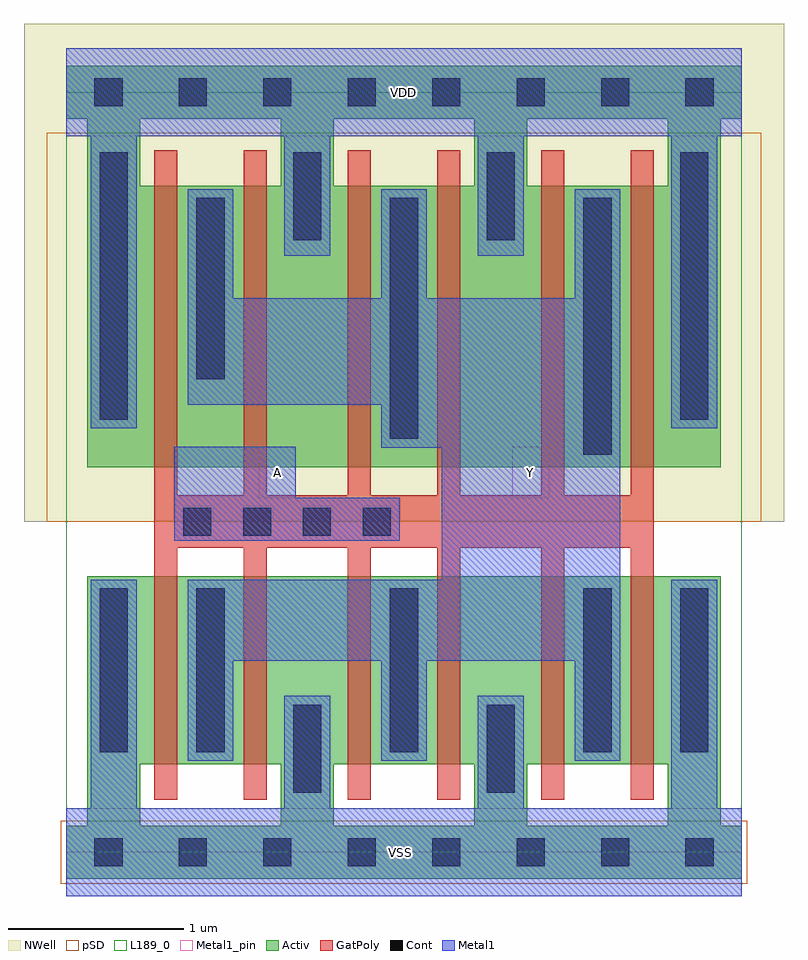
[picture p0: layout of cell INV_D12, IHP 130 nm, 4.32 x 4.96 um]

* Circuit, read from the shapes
.subckt INV_D12 A VDD VSS Y
XM1 Y A VSS VSS sg13_lv_nmos w=1.07u l=0.13u m=6
XM2 Y A VDD VDD sg13_lv_pmos w=1.6u l=0.13u m=6
.ends

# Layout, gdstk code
import gdstk
lib = gdstk.Library(unit=1e-6, precision=1e-09)
def R(c, l, rs):  # rectangles x0, y0, x1, y1
    for r in rs: c.add(gdstk.rectangle(r[:2], r[2:], *l))
def A(c, l, x, y, w, h, nx, ny, dx, dy):  # array of equal rectangles
    R(c, l, [(x+i*dx, y+j*dy, x+i*dx+w, y+j*dy+h) for i in range(nx) for j in range(ny)])
def P(c, l, *ps):  # polygons
    for p in ps: c.add(gdstk.Polygon(p, *l))
Activ = (1, 0)
GatPoly = (5, 0)
Cont = (6, 0)
Metal1 = (8, 0)
Metal1_pin = (8, 2)
pSD = (14, 0)
NWell = (31, 0)
L189_0 = (189, 0)

inv_d12 = lib.new_cell('INV_D12')
P(inv_d12, Activ, [(0,4.17),(2.32,4.17),(2.32,3.79),(2.62,3.79),(2.62,4.17),(3.42,4.17),(3.42,3.79),(2.62,3.79),(2.32,3.79),(1.52,3.79),(1.52,4.17),(1.22,4.17),(1.22,3.79),(0.42,3.79),(0.42,4.17),(0.12,4.17),(0.12,2.19),(3.72,2.19),(3.72,4.17),(3.84,4.17),(3.84,4.47),(0,4.47)],
  [(0.12,1.57),(0.12,0.15),(0.42,0.15),(0.42,0.5),(1.22,0.5),(1.22,0.15),(1.52,0.15),(1.52,0.5),(2.32,0.5),(2.32,0.15),(2.62,0.15),(2.62,0.5),(3.42,0.5),(3.42,0.15),(2.62,0.15),(2.32,0.15),(1.52,0.15),(1.22,0.15),(0.42,0.15),(0.12,0.15),(0,0.15),(0,-0.15),(3.84,-0.15),(3.84,0.15),(3.72,0.15),(3.72,1.57)])
P(inv_d12, GatPoly, [(1.73,3.99),(1.6,3.99),(1.6,2.03),(1.14,2.03),(1.14,3.99),(1.01,3.99),(1.01,2.03),(0.63,2.03),(0.63,3.99),(0.5,3.99),(0.5,0.3),(0.63,0.3),(0.63,1.73),(1.01,1.73),(1.01,0.3),(1.14,0.3),(1.14,1.73),(1.6,1.73),(1.6,0.3),(1.73,0.3),(1.73,1.73),(2.11,1.73),(2.11,0.3),(2.24,0.3),(2.24,1.73),(2.7,1.73),(2.7,0.3),(2.83,0.3),(2.83,1.73),(3.21,1.73),(3.21,0.3),(3.34,0.3),(3.34,3.99),(3.21,3.99),(3.21,2.03),(2.83,2.03),(2.83,3.99),(2.7,3.99),(2.7,2.03),(2.24,2.03),(2.24,3.99),(2.11,3.99),(2.11,2.03),(1.73,2.03)])
A(inv_d12, Cont, 0.16, -0.08, 0.16, 0.16, 8, 2, 0.48, 4.32)
A(inv_d12, Cont, 0.74, 0.57, 0.16, 0.93, 3, 1, 1.1, 0)
A(inv_d12, Cont, 0.665, 1.8, 0.16, 0.16, 4, 1, 0.34, 0)
R(inv_d12, Cont, [(1.29,0.34,1.45,0.84), (2.39,0.34,2.55,0.84), (0.19,0.57,0.35,1.5), (3.49,0.57,3.65,1.5), (2.94,2.26,3.1,3.72), (1.84,2.35,2,3.72), (0.19,2.46,0.35,3.98), (3.49,2.46,3.65,3.98), (0.74,2.69,0.9,3.72), (1.29,3.48,1.45,3.98), (2.39,3.48,2.55,3.98)])
R(inv_d12, Metal1, [(0.14,2.41,0.4,4.07), (1.24,3.39,1.5,4.07), (2.34,3.39,2.6,4.07)])
P(inv_d12, Metal1, [(3.7,2.41),(3.7,4.07),(3.84,4.07),(3.84,4.57),(0,4.57),(0,4.07),(3.44,4.07),(3.44,2.41)],
  [(1.79,3.77),(1.79,3.15),(0.95,3.15),(0.95,3.77),(0.69,3.77),(0.69,2.545),(1.79,2.545),(1.79,2.3),(2.135,2.3),(2.135,1.55),(0.69,1.55),(0.69,0.52),(0.95,0.52),(0.95,1.09),(1.79,1.09),(1.79,0.52),(2.05,0.52),(2.05,1.09),(2.89,1.09),(2.89,0.52),(3.15,0.52),(3.15,3.77),(2.89,3.77),(2.89,3.15),(2.05,3.15),(2.05,3.77)],
  [(1.305,2.015),(1.305,2.305),(0.615,2.305),(0.615,1.77),(1.895,1.77),(1.895,2.015)],
  [(0,0.25),(0,-0.25),(3.84,-0.25),(3.84,0.25),(3.7,0.25),(3.7,1.55),(3.44,1.55),(3.44,0.25),(2.6,0.25),(2.6,0.89),(2.34,0.89),(2.34,0.25),(1.5,0.25),(1.5,0.89),(1.24,0.89),(1.24,0.25),(0.4,0.25),(0.4,1.55),(0.14,1.55),(0.14,0.25)])
R(inv_d12, Metal1_pin, [(0,-0.25,3.84,0.25), (1.095,2.015,1.305,2.305), (2.535,2.015,2.745,2.305), (0,4.07,3.84,4.57)])
R(inv_d12, pSD, [(-0.03,-0.18,3.87,0.18), (-0.11,1.88,3.95,4.09)])
R(inv_d12, NWell, [(-0.24,1.88,4.08,4.71)])
R(inv_d12, L189_0, [(0,0,3.84,4.32)])
inv_d12.add(gdstk.Label('VDD', (1.915,4.32), layer=8, texttype=25))
inv_d12.add(gdstk.Label('Y', (2.64,2.16), layer=8, texttype=25))
inv_d12.add(gdstk.Label('A', (1.2,2.16), layer=8, texttype=25))
inv_d12.add(gdstk.Label('VSS', (1.9,0), layer=8, texttype=25))

lib.write_gds('INV_D12.gds')
